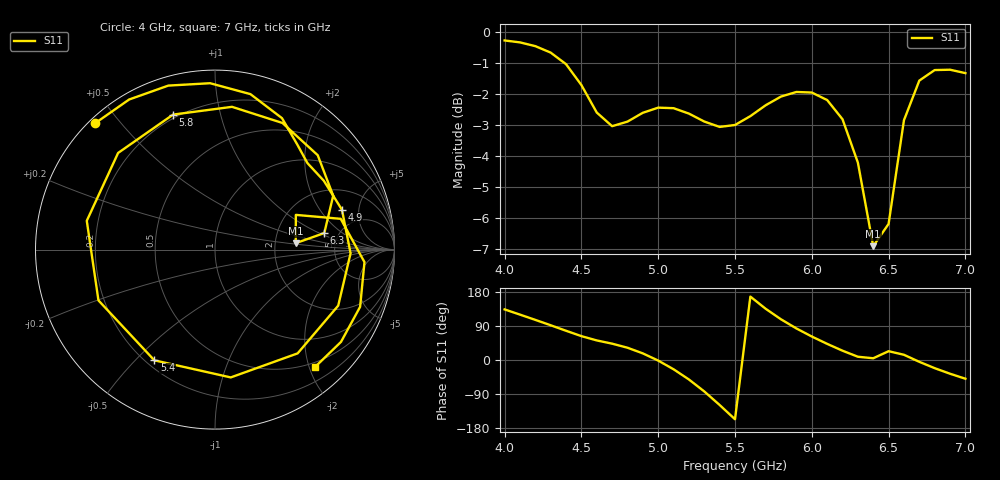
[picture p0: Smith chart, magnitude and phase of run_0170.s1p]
! Touchstone file exported from HFSS 2024.2.0
!  File:  C:/Users/wsak9/Desktop/Sim Fast/Widenad Patch/WP_AI_V1_sweep.aedt
!  Generated:  10:01:36 PM Oct 13, 2026
!  Design:  A1_model
!  Project:  WP_AI_V1_sweep
!  Setup:  Setup1
!  Solution:  Sweep
! Variables:
!  Air_gap = 1.76mm
!  Curve_Amp1 = 2.36
!  Curve_len1 = 1
!  Curve_pos = 10.255mm
!  Extra = 5.21mm
!  H_sub = 0.79mm
!  L_Patch = 16.51mm
!  L_Patch1 = 17.32mm
!  Sx = 1.49mm
!  Sy = 0.93mm
!  WS = 0.72mm
!  W_Patch = 18.63mm
!  W_Patch1 = 12.11mm
!Data is not renormalized
# GHz S MA
! Terminal data exported
! Port[1] = 1
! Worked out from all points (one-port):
!   31 points, 4 GHz to 7 GHz, reference per port
!   lowest |S11| = -6.9 dB at 6.4 GHz (marker M1), VSWR 2.64
!   |S11| at or under -10 dB: nowhere
!   S11 on the Smith chart (normalised r, x): 4 GHz: 0.02, +0.43; 4.9 GHz: 3.34, +3.29; 5.4 GHz: 0.23, -0.57; 5.8 GHz: 0.18, +0.72; 6.3 GHz: 3.85, +1.14; 7 GHz: 0.42, -2.10
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4  0.9703 133.5
4.2  0.95 105.9
4.3  0.9274 91.7
4.4  0.8884 77.1
4.5  0.8219 63.0
4.6  0.742 51.7
4.8  0.7174 32.4
4.9  0.7413 17.4
5  0.7557 -1.6
5.1  0.7542 -24.5
5.2  0.7391 -51.5
5.3  0.7175 -83.0
5.4  0.7033 -118.7
5.5  0.7084 -156.4
5.6  0.7321 167.3
5.7  0.7625 135.1
5.8  0.7876 107.2
5.9  0.8011 83.2
6  0.7993 62.0
6.1  0.7773 42.6
6.2  0.7237 24.5
6.3  0.6159 8.6
6.4  0.4512 4.6
6.5  0.4902 23.2
6.6  0.721 13.8
6.7  0.8357 -4.8
6.8  0.8691 -21.5
7  0.8592 -49.5
